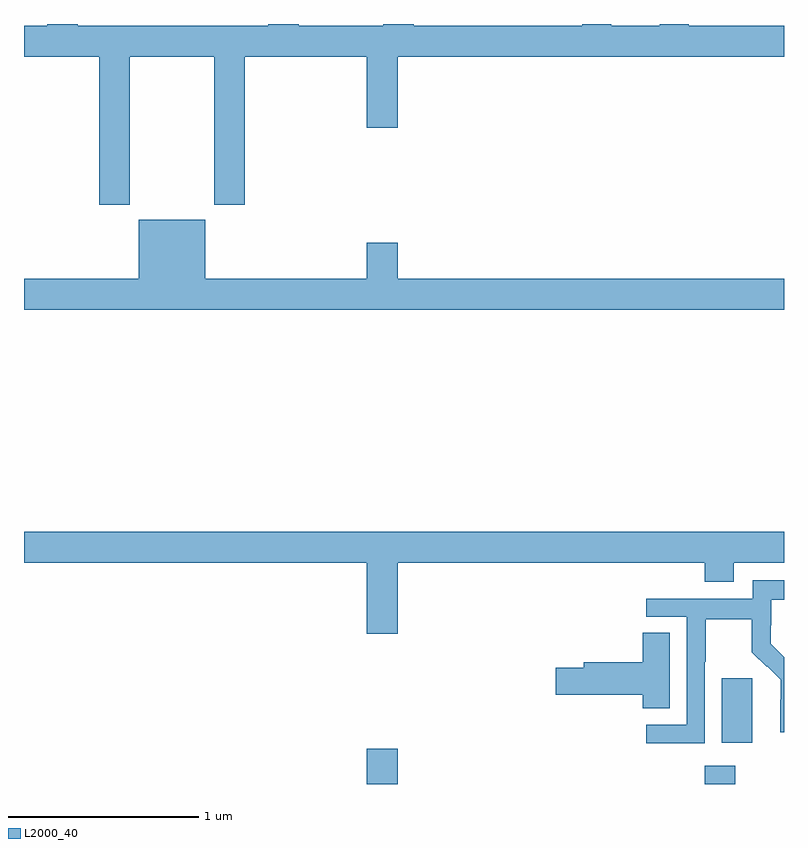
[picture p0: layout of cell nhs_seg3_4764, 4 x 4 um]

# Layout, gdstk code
import gdstk
lib = gdstk.Library(unit=1e-6, precision=1e-09)
def R(c, l, rs):  # rectangles x0, y0, x1, y1
    for r in rs: c.add(gdstk.rectangle(r[:2], r[2:], *l))
def P(c, l, *ps):  # polygons
    for p in ps: c.add(gdstk.Polygon(p, *l))
L2000_40 = (2000, 40)

nhs_seg3_4764 = lib.new_cell('nhs_seg3_4764')
R(nhs_seg3_4764, L2000_40, [(368.804,718.4,368.968,718.585), (370.583,718.4,370.743,718.495), (370.673,718.617,370.834,718.957)])
P(nhs_seg3_4764, L2000_40, [(367.123,722.4),(367.123,722.392),(367,722.392),(367,722.228),(367.397,722.228),(367.397,721.449),(367.557,721.449),(367.557,722.228),(368.002,722.228),(368.002,721.449),(368.162,721.449),(368.162,722.228),(368.804,722.228),(368.804,721.854),(368.968,721.854),(368.968,722.228),(371,722.228),(371,722.392),(370.499,722.392),(370.499,722.4),(370.346,722.4),(370.346,722.392),(370.09,722.392),(370.09,722.4),(369.938,722.4),(369.938,722.392),(369.05,722.392),(369.05,722.4),(368.89,722.4),(368.89,722.392),(368.445,722.392),(368.445,722.4),(368.285,722.4),(368.285,722.392),(367.283,722.392),(367.283,722.4)],
  [(371,721.06),(368.968,721.06),(368.968,721.249),(368.804,721.249),(368.804,721.06),(367.954,721.06),(367.954,721.369),(367.604,721.369),(367.604,721.06),(367,721.06),(367,720.896),(371,720.896)],
  [(368.968,719.564),(370.583,719.564),(370.583,719.465),(370.735,719.465),(370.735,719.564),(371,719.564),(371,719.728),(367,719.728),(367,719.564),(368.804,719.564),(368.804,719.19),(368.968,719.19)],
  [(370.584,719.044),(370.587,719.044),(370.587,719.268),(370.831,719.268),(370.831,719.093),(370.908,719.016),(370.911,719.019),(370.982,718.949),(370.982,718.844),(370.979,718.844),(370.979,718.672),(371,718.672),(371,719.068),(370.93,719.138),(370.93,719.235),(370.932,719.235),(370.932,719.369),(371,719.369),(371,719.473),(370.836,719.473),(370.836,719.376),(370.275,719.376),(370.275,719.28),(370.488,719.28),(370.488,718.713),(370.275,718.713),(370.275,718.615),(370.584,718.615)],
  [(370.399,719.195),(370.256,719.195),(370.256,719.042),(369.947,719.042),(369.947,719.012),(369.798,719.012),(369.798,718.87),(370.256,718.87),(370.256,718.798),(370.399,718.798)])

lib.write_gds('nhs_seg3_4764.gds')
